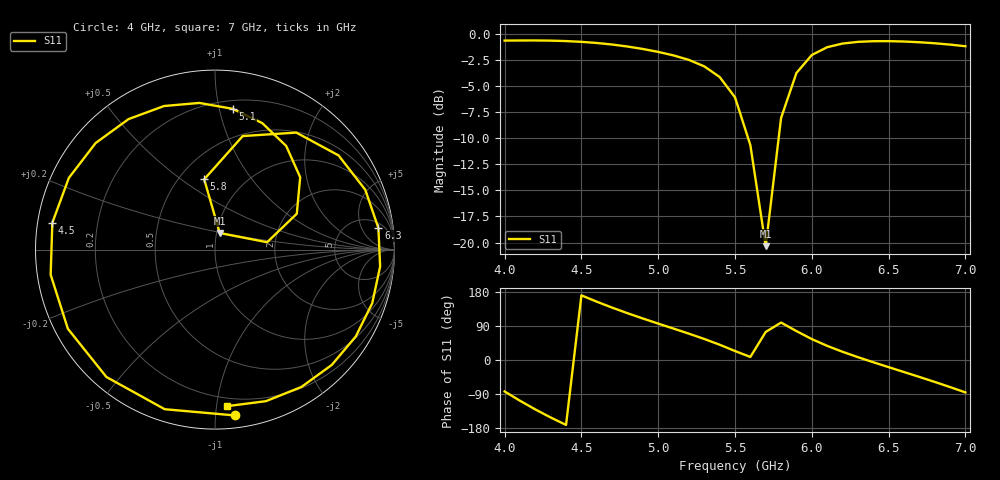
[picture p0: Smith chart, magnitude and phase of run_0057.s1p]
! Touchstone file exported from HFSS 2024.2.0
!  File:  C:/Users/wsak9/Desktop/Sim Fast/Widenad Patch/WP_AI_V1_sweep.aedt
!  Generated:  05:18:04 PM Oct 13, 2026
!  Design:  A1_model
!  Project:  WP_AI_V1_sweep
!  Setup:  Setup1
!  Solution:  Sweep
! Variables:
!  Air_gap = 4.66mm
!  Curve_Amp1 = 1.48
!  Curve_len1 = 1
!  Curve_pos = 10.82mm
!  Extra = 0.64mm
!  H_sub = 0.79mm
!  L_Patch = 17.64mm
!  L_Patch1 = 15.84mm
!  Sx = 0.92mm
!  Sy = 3.84mm
!  WS = 0.61mm
!  W_Patch = 11.55mm
!  W_Patch1 = 15.2mm
!Data is not renormalized
# GHz S MA
! Terminal data exported
! Port[1] = 1
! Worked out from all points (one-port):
!   31 points, 4 GHz to 7 GHz, reference per port
!   lowest |S11| = -20.4 dB at 5.7 GHz (marker M1), VSWR 1.21
!   |S11| at or under -10 dB: 5.586 GHz to 5.784 GHz (198.4 MHz wide, 3.49 % of centre)
!   S11 on the Smith chart (normalised r, x): 4 GHz: 0.08, -1.13; 4.5 GHz: 0.04, +0.08; 5.1 GHz: 0.26, +1.10; 5.8 GHz: 0.66, +0.61; 6.3 GHz: 7, +11; 7 GHz: 0.14, -1.07
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4  0.9311 -83.0
4.1  0.9323 -107.5
4.2  0.9326 -130.5
4.3  0.9308 -151.7
4.4  0.9263 -171.3
4.5  0.9184 170.6
4.6  0.907 153.9
4.7  0.8916 138.2
4.8  0.8721 123.5
4.9  0.8488 109.5
5.1  0.7905 82.8
5.2  0.7522 69.5
5.3  0.7004 55.5
5.4  0.6228 40.3
5.5  0.4975 23.7
5.6  0.2932 8.0
5.7  0.09603 74.0
5.8  0.396 98.7
5.9  0.6512 76.3
6  0.7939 55.2
6.1  0.8656 37.3
6.2  0.9011 21.7
6.3  0.9183 7.5
6.4  0.9249 -5.9
6.5  0.9255 -18.9
6.7  0.9145 -44.6
6.9  0.8909 -71.4
7  0.8749 -85.6
